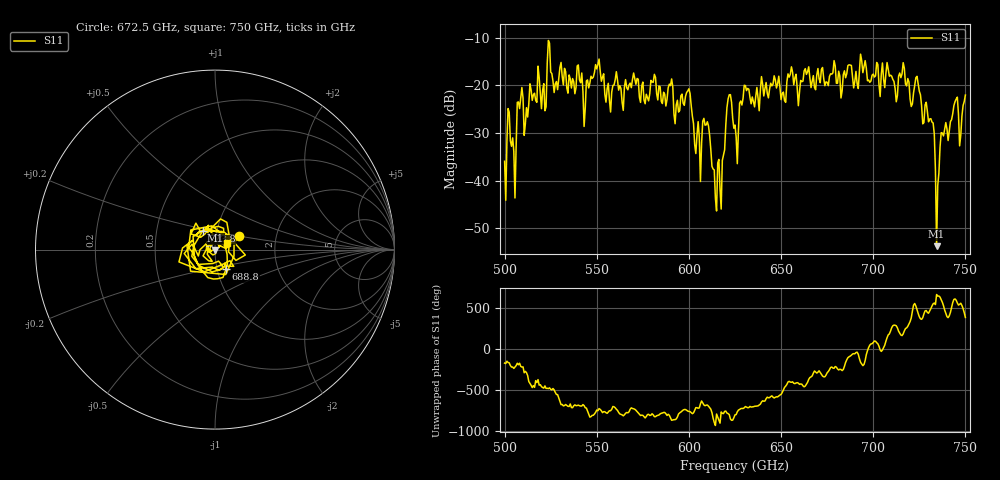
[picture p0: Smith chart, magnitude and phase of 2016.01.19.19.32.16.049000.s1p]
!Created with skrf (http://scikit-rf.org).
# GHz S RI R 50.0
!freq ReS11 ImS11
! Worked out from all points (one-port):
!   401 points, 500 GHz to 750 GHz, reference 50 ohm
!   lowest |S11| = -53.7 dB at 734.4 GHz (marker M1), VSWR 1.00, Z = 50.1 - j0.157 ohm
!   |S11| at or under -10 dB: start of sweep to end of sweep
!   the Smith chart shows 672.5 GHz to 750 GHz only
!   S11 on the Smith chart (normalised r, x): 672.5 GHz: 1.29, +0.21; 688.8 GHz: 1.10, -0.24; 723.8 GHz: 0.85, +0.18; 750 GHz: 1.14, +0.09
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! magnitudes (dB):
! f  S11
! 500 GHz  -35.9
! 502.5 GHz  -25.6
! 505 GHz  -33.8
! 508.1 GHz  -24.9
! 511.9 GHz  -24.7
! 521.2 GHz  -19.7
! 524.4 GHz  -11.2
! 531.2 GHz  -18.1
! 562.5 GHz  -20.1
! 590 GHz  -20.1
! 593.8 GHz  -23.1
! 600 GHz  -20.7
! 605 GHz  -27.6
! 609.4 GHz  -28.3
! 616.2 GHz  -35.5
! 621.9 GHz  -22.0
! 625 GHz  -28.3
! 631.2 GHz  -21.1
! 656.2 GHz  -17.3
! 672.5 GHz  -16.3
! 687.5 GHz  -15.7
! 688.8 GHz  -18.2
! 718.8 GHz  -18.6
! 723.8 GHz  -18.1
! 731.9 GHz  -27.7
! 734.4 GHz  -53.7
! 738.1 GHz  -30.6
! 750 GHz  -22.0
